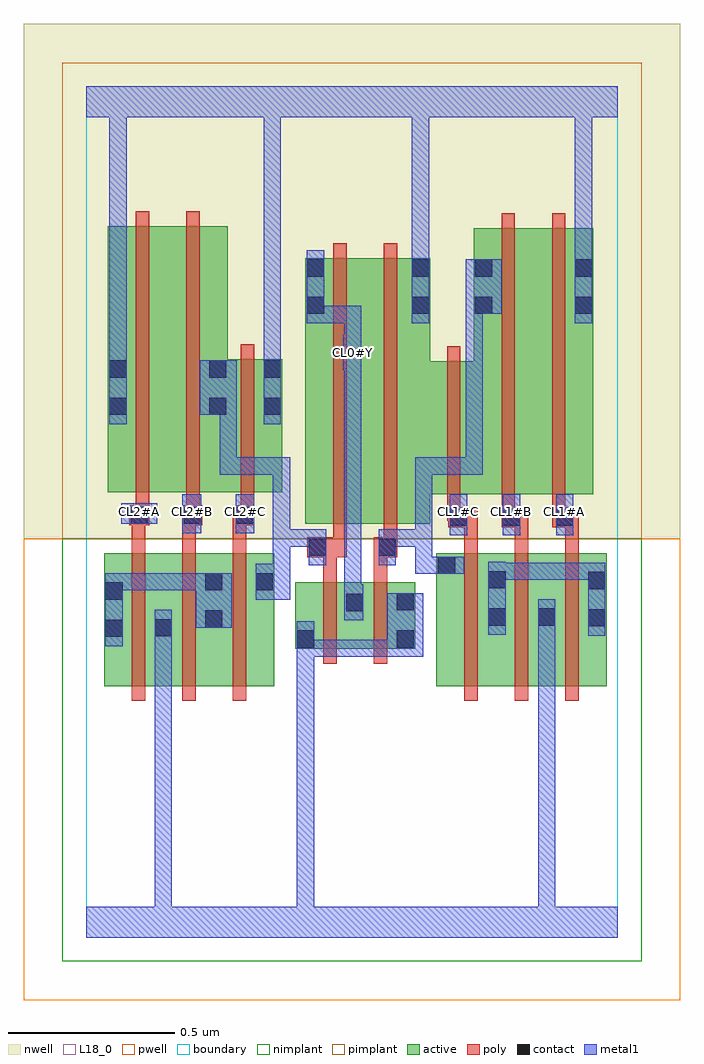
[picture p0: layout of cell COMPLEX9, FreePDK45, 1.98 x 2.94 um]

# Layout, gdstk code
import gdstk
lib = gdstk.Library(unit=1e-6, precision=1e-09)
def R(c, l, rs):  # rectangles x0, y0, x1, y1
    for r in rs: c.add(gdstk.rectangle(r[:2], r[2:], *l))
def A(c, l, x, y, w, h, nx, ny, dx, dy):  # array of equal rectangles
    R(c, l, [(x+i*dx, y+j*dy, x+i*dx+w, y+j*dy+h) for i in range(nx) for j in range(ny)])
active = (1, 0)
pwell = (2, 0)
nwell = (3, 0)
nimplant = (4, 0)
pimplant = (5, 0)
poly = (9, 0)
contact = (10, 0)
metal1 = (11, 0)
L18_0 = (18, 0)
boundary = (235, 0)

complex9 = lib.new_cell('COMPLEX9')
A(complex9, active, 0.202, 0.756, 0.06, 0.4, 3, 1, 0.152, 0)
A(complex9, active, 1.206, 0.756, 0.06, 0.4, 3, 1, 0.15, 0)
R(complex9, active, [(0.054,0.756,0.114,1.156), (0.054,0.756,0.262,1.156), (0.202,0.756,0.414,1.156), (0.354,0.756,0.566,1.156), (1.054,0.756,1.114,1.156), (1.054,0.756,1.266,1.156), (1.206,0.756,1.416,1.156), (1.356,0.756,1.566,1.156), (0.63,0.868,0.69,1.068), (0.63,0.868,0.838,1.068), (0.778,0.868,0.838,1.068), (0.778,0.868,0.99,1.068), (0.93,0.868,0.99,1.068), (0.66,1.244,0.84,2.044), (0.66,1.244,0.72,2.044), (0.84,1.244,1.036,2.044), (0.976,1.334,1.036,2.044), (0.976,1.334,1.226,1.734), (1.166,1.334,1.346,2.134), (1.346,1.334,1.526,2.134), (1.466,1.334,1.526,2.044), (0.066,1.34,0.246,2.14), (0.066,1.34,0.126,2.044), (0.246,1.34,0.426,2.14), (0.366,1.34,0.59,1.74), (0.53,1.34,0.59,1.74), (0.366,1.416,0.426,1.822), (1.166,1.572,1.226,2.044)])
R(complex9, pwell, [(-0.188,-0.188,1.788,1.2)])
R(complex9, nwell, [(-0.188,1.2,1.788,2.748)])
R(complex9, nimplant, [(-0.072,-0.072,1.672,1.2)])
R(complex9, pimplant, [(-0.072,1.2,1.672,2.632)])
A(complex9, poly, 0.138, 0.712, 0.04, 0.488, 3, 1, 0.152, 0)
A(complex9, poly, 1.138, 0.712, 0.04, 0.488, 3, 1, 0.152, 0)
A(complex9, poly, 0.138, 1.16, 0.04, 0.12, 3, 1, 0.152, 0)
A(complex9, poly, 1.138, 1.16, 0.04, 0.114, 3, 1, 0.152, 0)
R(complex9, poly, [(0.714,0.824,0.754,1.112), (0.866,0.824,0.906,1.112), (0.714,1.072,0.754,1.184), (0.866,1.072,0.906,1.184), (0.666,1.144,0.784,1.204), (0.714,1.144,0.754,1.184), (0.714,1.144,0.754,1.184), (0.866,1.144,0.936,1.204), (0.744,1.164,0.784,1.24), (0.896,1.164,0.936,1.24), (0.896,1.164,0.936,1.204), (0.896,1.164,0.936,1.204), (0.744,1.2,0.784,2.088), (0.896,1.2,0.936,2.088), (1.09,1.234,1.178,1.294), (1.25,1.234,1.31,1.294), (1.27,1.234,1.31,1.274), (1.27,1.234,1.33,1.274), (1.402,1.234,1.47,1.294), (1.43,1.234,1.47,1.274), (1.43,1.234,1.482,1.274), (0.13,1.24,0.19,1.3), (0.138,1.24,0.178,1.28), (0.138,1.24,0.178,1.28), (0.29,1.24,0.33,1.28), (0.29,1.24,0.33,1.28), (0.29,1.24,0.35,1.3), (0.442,1.24,0.506,1.3), (1.086,1.254,1.126,1.33), (1.086,1.254,1.13,1.294), (1.09,1.254,1.13,1.294), (1.25,1.254,1.29,1.33), (1.402,1.254,1.442,1.33), (0.15,1.26,0.19,1.336), (0.302,1.26,0.342,1.336), (0.466,1.26,0.506,1.336), (0.466,1.26,0.506,1.3), (0.466,1.26,0.506,1.3), (1.086,1.29,1.126,1.778), (1.25,1.29,1.29,2.178), (1.402,1.29,1.442,2.178), (0.15,1.296,0.19,2.184), (0.302,1.296,0.342,2.184), (0.466,1.296,0.506,1.784)])
A(complex9, contact, 1.094, 1.238, 0.052, 0.052, 3, 1, 0.16, 0)
R(complex9, contact, [(0.634,0.872,0.686,0.924), (0.934,0.872,0.986,0.924), (0.058,0.904,0.11,0.956), (0.206,0.906,0.258,0.958), (0.358,0.932,0.41,0.984), (1.51,0.936,1.562,0.988), (1.21,0.938,1.262,0.99), (1.36,0.938,1.412,0.99), (0.782,0.982,0.834,1.034), (0.934,0.984,0.986,1.036), (0.058,1.016,0.11,1.068), (0.358,1.044,0.41,1.096), (0.51,1.044,0.562,1.096), (1.51,1.048,1.562,1.1), (1.21,1.05,1.262,1.102), (1.058,1.094,1.11,1.146), (0.67,1.148,0.722,1.2), (0.88,1.148,0.932,1.2), (0.134,1.244,0.186,1.296), (0.294,1.244,0.346,1.296), (0.45,1.244,0.502,1.296), (0.07,1.572,0.122,1.624), (0.37,1.572,0.422,1.624), (0.534,1.572,0.586,1.624), (0.07,1.684,0.122,1.736), (0.37,1.684,0.422,1.736), (0.534,1.684,0.586,1.736), (0.664,1.876,0.716,1.928), (0.98,1.876,1.032,1.928), (1.17,1.876,1.222,1.928), (1.47,1.876,1.522,1.928), (0.664,1.988,0.716,2.04), (0.98,1.988,1.032,2.04), (1.17,1.988,1.222,2.04), (1.47,1.988,1.522,2.04)])
A(complex9, metal1, 1.094, 1.21, 0.052, 0.124, 3, 1, 0.16, 0)
R(complex9, metal1, [(0,0,1.6,0.092), (0.206,0.04,0.258,0.092), (0.206,0.04,0.258,0.092), (0.206,0.04,0.258,0.092), (0.206,0.04,0.258,0.092), (0.206,0.04,0.258,0.092), (0.206,0.04,0.258,0.092), (0.206,0.04,0.258,0.092), (0.206,0.04,0.258,0.092), (0.206,0.04,0.258,0.092), (0.206,0.04,0.258,0.092), (0.206,0.04,0.258,0.092), (0.206,0.04,0.258,0.092), (0.206,0.04,0.258,0.93), (0.634,0.04,0.686,0.092), (0.634,0.04,0.686,0.092), (0.634,0.04,0.686,0.092), (0.634,0.04,0.686,0.092), (0.634,0.04,0.686,0.092), (0.634,0.04,0.686,0.092), (0.634,0.04,0.686,0.092), (0.634,0.04,0.686,0.092), (0.634,0.04,0.686,0.092), (0.634,0.04,0.686,0.092), (0.634,0.04,0.686,0.092), (0.634,0.04,0.686,0.092), (0.634,0.04,0.686,0.092), (0.634,0.04,0.686,0.092), (0.634,0.04,0.686,0.896), (1.36,0.04,1.412,0.092), (1.36,0.04,1.412,0.092), (1.36,0.04,1.412,0.092), (1.36,0.04,1.412,0.092), (1.36,0.04,1.412,0.092), (1.36,0.04,1.412,0.092), (1.36,0.04,1.412,0.962), (0.634,0.844,0.686,0.896), (0.634,0.844,0.686,0.896), (0.634,0.844,0.686,0.952), (0.634,0.844,0.738,0.896), (0.686,0.844,0.738,0.896), (0.686,0.844,0.848,0.896), (0.796,0.844,0.848,0.896), (0.796,0.844,0.848,0.896), (0.796,0.844,0.848,0.896), (0.796,0.844,0.958,0.896), (0.906,0.844,1.014,1.036), (0.058,0.876,0.11,1.096), (0.206,0.878,0.258,0.986), (1.51,0.908,1.562,1.128), (1.21,0.91,1.262,1.13), (1.36,0.91,1.412,0.962), (1.36,0.91,1.412,0.962), (1.36,0.91,1.412,0.962), (1.36,0.91,1.412,0.962), (1.36,0.91,1.412,0.962), (1.36,0.91,1.412,0.962), (1.36,0.91,1.412,1.018), (0.33,0.932,0.438,1.096), (0.776,0.954,0.834,1.062), (0.776,1.01,0.828,1.758), (0.51,1.016,0.614,1.124), (0.058,1.044,0.11,1.096), (0.058,1.044,0.11,1.096), (0.058,1.044,0.272,1.096), (0.22,1.044,0.272,1.096), (0.22,1.044,0.272,1.096), (0.22,1.044,0.272,1.096), (0.22,1.044,0.382,1.096), (0.562,1.072,0.614,1.228), (1.21,1.076,1.262,1.128), (1.21,1.076,1.262,1.128), (1.21,1.076,1.412,1.128), (1.36,1.076,1.412,1.128), (1.36,1.076,1.412,1.128), (1.36,1.076,1.412,1.128), (1.36,1.076,1.562,1.128), (0.99,1.094,1.042,1.228), (0.99,1.094,1.138,1.146), (0.67,1.12,0.722,1.228), (0.88,1.12,0.932,1.228), (0.562,1.176,0.614,1.228), (0.562,1.176,0.614,1.228), (0.562,1.176,0.614,1.444), (0.562,1.176,0.616,1.228), (0.564,1.176,0.616,1.228), (0.564,1.176,0.722,1.228), (0.88,1.176,0.986,1.228), (0.934,1.176,0.986,1.228), (0.934,1.176,1.042,1.228), (0.99,1.176,1.042,1.228), (0.99,1.176,1.042,1.444), (0.29,1.216,0.346,1.334), (0.45,1.216,0.506,1.334), (0.106,1.244,0.214,1.306), (0.402,1.392,0.454,1.444), (0.402,1.392,0.456,1.444), (0.402,1.392,0.454,1.624), (0.404,1.392,0.456,1.444), (0.404,1.392,0.614,1.444), (0.99,1.392,1.042,1.444), (0.99,1.392,1.152,1.444), (1.1,1.392,1.152,1.444), (1.1,1.392,1.194,1.444), (1.142,1.392,1.194,1.444), (1.142,1.392,1.194,1.928), (0.07,1.544,0.122,1.764), (0.534,1.544,0.586,1.764), (0.342,1.572,0.454,1.736), (0.774,1.706,0.828,1.814), (0.07,1.712,0.122,1.764), (0.07,1.712,0.122,1.764), (0.07,1.712,0.122,1.764), (0.07,1.712,0.122,1.764), (0.07,1.712,0.122,2.52), (0.534,1.712,0.586,1.764), (0.534,1.712,0.586,1.764), (0.534,1.712,0.586,2.52), (0.776,1.762,0.828,1.814), (0.776,1.762,0.828,1.814), (0.776,1.762,0.828,1.9), (0.664,1.848,0.716,2.068), (0.664,1.848,0.738,1.9), (0.686,1.848,0.738,1.9), (0.686,1.848,0.828,1.9), (0.776,1.848,0.828,1.9), (0.98,1.848,1.032,2.068), (1.47,1.848,1.522,2.068), (1.142,1.876,1.25,2.04), (0.98,2.016,1.032,2.068), (0.98,2.016,1.032,2.068), (0.98,2.016,1.032,2.068), (0.98,2.016,1.032,2.068), (0.98,2.016,1.032,2.52), (1.47,2.016,1.522,2.068), (1.47,2.016,1.522,2.068), (1.47,2.016,1.522,2.068), (1.47,2.016,1.522,2.068), (1.47,2.016,1.522,2.52), (0,2.468,1.6,2.56), (0.07,2.468,0.122,2.52), (0.07,2.468,0.122,2.52), (0.07,2.468,0.122,2.52), (0.07,2.468,0.122,2.52), (0.534,2.468,0.586,2.52), (0.534,2.468,0.586,2.52), (0.534,2.468,0.586,2.52), (0.534,2.468,0.586,2.52), (0.534,2.468,0.586,2.52), (0.534,2.468,0.586,2.52), (0.534,2.468,0.586,2.52), (0.534,2.468,0.586,2.52), (0.534,2.468,0.586,2.52), (0.534,2.468,0.586,2.52), (0.534,2.468,0.586,2.52), (0.534,2.468,0.586,2.52), (0.534,2.468,0.586,2.52), (0.534,2.468,0.586,2.52), (0.98,2.468,1.032,2.52), (0.98,2.468,1.032,2.52), (0.98,2.468,1.032,2.52), (0.98,2.468,1.032,2.52), (1.47,2.468,1.522,2.52), (1.47,2.468,1.522,2.52), (1.47,2.468,1.522,2.52), (1.47,2.468,1.522,2.52)])
A(complex9, L18_0, 1.094, 1.21, 0.052, 0.124, 3, 1, 0.16, 0)
A(complex9, L18_0, 0.134, 1.254, 0.052, 0.052, 3, 1, 0.16, 0)
A(complex9, L18_0, 1.094, 1.254, 0.052, 0.052, 3, 1, 0.16, 0)
R(complex9, L18_0, [(0,0,1.6,0.092), (0.206,0.04,0.258,0.092), (0.206,0.04,0.258,0.092), (0.206,0.04,0.258,0.092), (0.206,0.04,0.258,0.092), (0.206,0.04,0.258,0.092), (0.206,0.04,0.258,0.092), (0.206,0.04,0.258,0.092), (0.206,0.04,0.258,0.092), (0.206,0.04,0.258,0.092), (0.206,0.04,0.258,0.092), (0.206,0.04,0.258,0.092), (0.206,0.04,0.258,0.092), (0.206,0.04,0.258,0.93), (0.634,0.04,0.686,0.092), (0.634,0.04,0.686,0.092), (0.634,0.04,0.686,0.092), (0.634,0.04,0.686,0.092), (0.634,0.04,0.686,0.092), (0.634,0.04,0.686,0.092), (0.634,0.04,0.686,0.092), (0.634,0.04,0.686,0.092), (0.634,0.04,0.686,0.092), (0.634,0.04,0.686,0.092), (0.634,0.04,0.686,0.092), (0.634,0.04,0.686,0.092), (0.634,0.04,0.686,0.092), (0.634,0.04,0.686,0.092), (0.634,0.04,0.686,0.896), (1.36,0.04,1.412,0.092), (1.36,0.04,1.412,0.092), (1.36,0.04,1.412,0.092), (1.36,0.04,1.412,0.092), (1.36,0.04,1.412,0.092), (1.36,0.04,1.412,0.092), (1.36,0.04,1.412,0.962), (0.634,0.844,0.686,0.896), (0.634,0.844,0.686,0.896), (0.634,0.844,0.686,0.952), (0.634,0.844,0.738,0.896), (0.686,0.844,0.738,0.896), (0.686,0.844,0.848,0.896), (0.796,0.844,0.848,0.896), (0.796,0.844,0.848,0.896), (0.796,0.844,0.848,0.896), (0.796,0.844,0.958,0.896), (0.906,0.844,1.014,1.036), (0.206,0.878,0.258,0.986), (1.36,0.91,1.412,0.962), (1.36,0.91,1.412,0.962), (1.36,0.91,1.412,0.962), (1.36,0.91,1.412,0.962), (1.36,0.91,1.412,0.962), (1.36,0.91,1.412,0.962), (1.36,0.91,1.412,1.018), (0.776,0.954,0.834,1.062), (0.776,1.01,0.828,1.758), (0.29,1.216,0.346,1.334), (0.45,1.216,0.506,1.334), (0.106,1.244,0.214,1.306), (0.07,1.544,0.122,1.764), (0.534,1.544,0.586,1.764), (0.774,1.706,0.828,1.814), (0.07,1.712,0.122,1.764), (0.07,1.712,0.122,1.764), (0.07,1.712,0.122,1.764), (0.07,1.712,0.122,1.764), (0.07,1.712,0.122,2.52), (0.534,1.712,0.586,1.764), (0.534,1.712,0.586,1.764), (0.534,1.712,0.586,2.52), (0.774,1.734,0.826,1.786), (0.776,1.762,0.828,1.814), (0.776,1.762,0.828,1.814), (0.776,1.762,0.828,1.9), (0.664,1.848,0.716,2.068), (0.664,1.848,0.738,1.9), (0.686,1.848,0.738,1.9), (0.686,1.848,0.828,1.9), (0.776,1.848,0.828,1.9), (0.98,1.848,1.032,2.068), (1.47,1.848,1.522,2.068), (0.98,2.016,1.032,2.068), (0.98,2.016,1.032,2.068), (0.98,2.016,1.032,2.068), (0.98,2.016,1.032,2.068), (0.98,2.016,1.032,2.52), (1.47,2.016,1.522,2.068), (1.47,2.016,1.522,2.068), (1.47,2.016,1.522,2.068), (1.47,2.016,1.522,2.068), (1.47,2.016,1.522,2.52), (0,2.468,1.6,2.56), (0.07,2.468,0.122,2.52), (0.07,2.468,0.122,2.52), (0.07,2.468,0.122,2.52), (0.07,2.468,0.122,2.52), (0.534,2.468,0.586,2.52), (0.534,2.468,0.586,2.52), (0.534,2.468,0.586,2.52), (0.534,2.468,0.586,2.52), (0.534,2.468,0.586,2.52), (0.534,2.468,0.586,2.52), (0.534,2.468,0.586,2.52), (0.534,2.468,0.586,2.52), (0.534,2.468,0.586,2.52), (0.534,2.468,0.586,2.52), (0.534,2.468,0.586,2.52), (0.534,2.468,0.586,2.52), (0.534,2.468,0.586,2.52), (0.534,2.468,0.586,2.52), (0.98,2.468,1.032,2.52), (0.98,2.468,1.032,2.52), (0.98,2.468,1.032,2.52), (0.98,2.468,1.032,2.52), (1.47,2.468,1.522,2.52), (1.47,2.468,1.522,2.52), (1.47,2.468,1.522,2.52), (1.47,2.468,1.522,2.52)])
R(complex9, boundary, [(0,0,1.6,2.56)])
complex9.add(gdstk.Label('CL0#Y', (0.8,1.76), layer=11, texttype=0))
complex9.add(gdstk.Label('CL1#A', (1.44,1.28), layer=11, texttype=0))
complex9.add(gdstk.Label('CL1#B', (1.28,1.28), layer=11, texttype=0))
complex9.add(gdstk.Label('CL1#C', (1.12,1.28), layer=11, texttype=0))
complex9.add(gdstk.Label('CL2#A', (0.16,1.28), layer=11, texttype=0))
complex9.add(gdstk.Label('CL2#B', (0.32,1.28), layer=11, texttype=0))
complex9.add(gdstk.Label('CL2#C', (0.48,1.28), layer=11, texttype=0))

lib.write_gds('COMPLEX9.gds')
